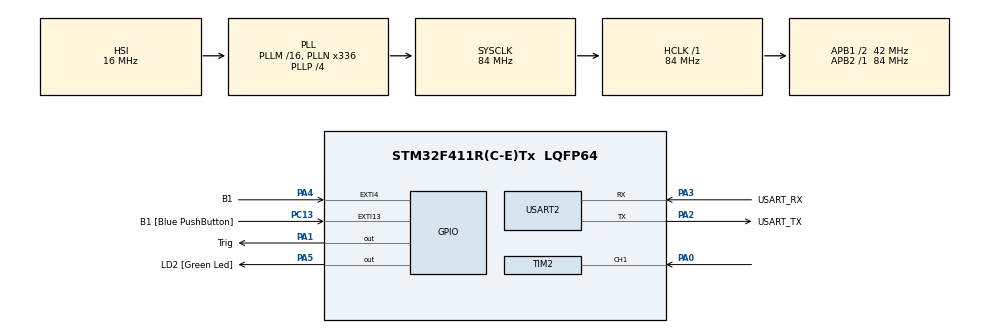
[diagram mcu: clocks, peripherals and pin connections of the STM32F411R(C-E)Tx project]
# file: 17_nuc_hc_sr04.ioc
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Mcu.Family=STM32F4
Mcu.Name=STM32F411R(C-E)Tx
Mcu.Package=LQFP64
NVIC.EXTI4_IRQn=true\:0\:0\:false\:true\:true\:3\:true\:true
NVIC.PriorityGroup=NVIC_PRIORITYGROUP_0
NVIC.TIM1_UP_TIM10_IRQn=true\:0\:0\:false\:true\:true\:2\:true\:true
NVIC.TIM2_IRQn=true\:0\:0\:false\:true\:true\:1\:true\:true
PA0-WKUP.GPIO_PuPd=GPIO_NOPULL
PA0-WKUP.Signal=S_TIM2_CH1_ETR
PA1.GPIO_Label=Trig
PA1.Signal=GPIO_Output
PA13.GPIO_Label=TMS
PA13.Mode=Serial_Wire
PA13.Signal=SYS_JTMS-SWDIO
PA14.GPIO_Label=TCK
PA14.Mode=Serial_Wire
PA14.Signal=SYS_JTCK-SWCLK
PA2.GPIO_Label=USART_TX
PA2.Mode=Asynchronous
PA2.Signal=USART2_TX
PA3.GPIO_Label=USART_RX
PA3.Mode=Asynchronous
PA3.Signal=USART2_RX
PA4.GPIO_Label=B1
PA4.GPIO_PuPd=GPIO_PULLDOWN
PA4.Signal=GPXTI4
PA5.GPIO_Label=LD2 [Green Led]
PA5.Signal=GPIO_Output
PB3.GPIO_Label=SWO
PB3.Signal=SYS_JTDO-SWO
PC13-ANTI_TAMP.GPIO_Label=B1 [Blue PushButton]
PC13-ANTI_TAMP.GPIO_ModeDefaultEXTI=GPIO_MODE_IT_FALLING
PC13-ANTI_TAMP.Signal=GPXTI13
PC14-OSC32_IN.Mode=LSE-External-Oscillator
PC14-OSC32_IN.Signal=RCC_OSC32_IN
PC15-OSC32_OUT.Mode=LSE-External-Oscillator
PC15-OSC32_OUT.Signal=RCC_OSC32_OUT
PH0\ -\ OSC_IN.Mode=HSE-External-Clock-Source
PH0\ -\ OSC_IN.Signal=RCC_OSC_IN
PH1\ -\ OSC_OUT.Mode=HSE-External-Clock-Source
PH1\ -\ OSC_OUT.Signal=RCC_OSC_OUT
ProjectManager.HeapSize=0x200
ProjectManager.StackSize=0x400
ProjectManager.TargetToolchain=STM32CubeIDE
RCC.48MHZClocksFreq_Value=84000000
RCC.AHBFreq_Value=84000000
RCC.APB1CLKDivider=RCC_HCLK_DIV2
RCC.APB1Freq_Value=42000000
RCC.APB1TimFreq_Value=84000000
RCC.APB2Freq_Value=84000000
RCC.APB2TimFreq_Value=84000000
RCC.CortexFreq_Value=84000000
RCC.FLatency-AdvancedSettings=FLASH_LATENCY_2
RCC.HCLKFreq_Value=84000000
RCC.HSE_VALUE=8000000
RCC.HSI_VALUE=16000000
RCC.PLLN=336
RCC.PLLP=RCC_PLLP_DIV4
RCC.SYSCLKFreq_VALUE=84000000
RCC.SYSCLKSource=RCC_SYSCLKSOURCE_PLLCLK
RCC.VCOOutputFreq_Value=336000000
SH.S_TIM2_CH1_ETR.0=TIM2_CH1,Input_Capture1_from_TI1
SH.S_TIM2_CH1_ETR.1=TIM2_CH1,Input_Capture2_from_TI1
TIM1.Period=9
TIM1.Prescaler=83
TIM2.Channel-Input_Capture1_from_TI1=TIM_CHANNEL_1
TIM2.Channel-Input_Capture2_from_TI1=TIM_CHANNEL_2
TIM2.ICPolarity_CH1=TIM_INPUTCHANNELPOLARITY_RISING
TIM2.ICPolarity_CH2=TIM_INPUTCHANNELPOLARITY_FALLING
TIM2.Period=16777216
TIM2.Prescaler=83
USART2.VirtualMode=VM_ASYNC
VP_TIM1_VS_ClockSourceINT.Mode=Internal
VP_TIM2_VS_ClockSourceINT.Mode=Internal
board=NUCLEO-F411RE

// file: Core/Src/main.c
/* USER CODE BEGIN Header */
/**
  ******************************************************************************
  * @file           : main.c
  * @brief          : Main program body
  ******************************************************************************
  * @attention
  *
  * <h2><center>&copy; Copyright (c) 2021 STMicroelectronics.
  * All rights reserved.</center></h2>
  *
  * This software component is licensed by ST under BSD 3-Clause license,
  * the "License"; You may not use this file except in compliance with the
  * License. You may obtain a copy of the License at:
  *                        opensource.org/licenses/BSD-3-Clause
  *
  ******************************************************************************
  */
/* USER CODE END Header */
#include "main.h"
#include "tim.h"
#include "usart.h"
#include "gpio.h"

/* USER CODE BEGIN PV */
volatile uint32_t TimerCounterDown;
volatile uint32_t TimerCounterUp;
volatile uint16_t TimerEcho;
volatile uint8_t CounterMesure;
volatile uint8_t OdlegloscCm;
/* USER CODE END PV */

void SystemClock_Config(void);
static void MX_NVIC_Init(void);

int main(void)
{

  /* MCU Configuration--------------------------------------------------------*/

  /* Reset of all peripherals, Initializes the Flash interface and the Systick. */
  HAL_Init();

  /* Configure the system clock */
  SystemClock_Config();

  /* Initialize all configured peripherals */
  MX_GPIO_Init();
  MX_USART2_UART_Init();
  MX_TIM2_Init();
  MX_TIM1_Init();

  /* Initialize interrupts */
  MX_NVIC_Init();
  /* USER CODE BEGIN 2 */
  //
  // URUCHOMIENIE TIMEROW DO LICZENIA CZASU TRWANIA ECHA W TRYBIE INPUT CAPTURE
  //
  // TIM2 f=84MHz, PSC=83, CPRD=16777216, ICD=1 => Tick_timera = 1us, Przepelnienie 16,8s
  HAL_TIM_IC_Start_IT(&htim2, TIM_CHANNEL_1); // zbocze narastajace -> poczatek echa
  HAL_TIM_IC_Start_IT(&htim2, TIM_CHANNEL_2); // zbocze opadajace -> koniec echa

  /* USER CODE END 2 */

  /* Infinite loop */
  while (1)
  {

  }
}

void SystemClock_Config(void)
{
  RCC_OscInitTypeDef RCC_OscInitStruct = {0};
  RCC_ClkInitTypeDef RCC_ClkInitStruct = {0};

  /** Configure the main internal regulator output voltage
  */
  __HAL_RCC_PWR_CLK_ENABLE();
  __HAL_PWR_VOLTAGESCALING_CONFIG(PWR_REGULATOR_VOLTAGE_SCALE1);
  /** Initializes the RCC Oscillators according to the specified parameters
  * in the RCC_OscInitTypeDef structure.
  */
  RCC_OscInitStruct.OscillatorType = RCC_OSCILLATORTYPE_HSI;
  RCC_OscInitStruct.HSIState = RCC_HSI_ON;
  RCC_OscInitStruct.HSICalibrationValue = RCC_HSICALIBRATION_DEFAULT;
  RCC_OscInitStruct.PLL.PLLState = RCC_PLL_ON;
  RCC_OscInitStruct.PLL.PLLSource = RCC_PLLSOURCE_HSI;
  RCC_OscInitStruct.PLL.PLLM = 16;
  RCC_OscInitStruct.PLL.PLLN = 336;
  RCC_OscInitStruct.PLL.PLLP = RCC_PLLP_DIV4;
  RCC_OscInitStruct.PLL.PLLQ = 4;
  if (HAL_RCC_OscConfig(&RCC_OscInitStruct) != HAL_OK)
  {
    Error_Handler();
  }
  /** Initializes the CPU, AHB and APB buses clocks
  */
  RCC_ClkInitStruct.ClockType = RCC_CLOCKTYPE_HCLK|RCC_CLOCKTYPE_SYSCLK
                              |RCC_CLOCKTYPE_PCLK1|RCC_CLOCKTYPE_PCLK2;
  RCC_ClkInitStruct.SYSCLKSource = RCC_SYSCLKSOURCE_PLLCLK;
  RCC_ClkInitStruct.AHBCLKDivider = RCC_SYSCLK_DIV1;
  RCC_ClkInitStruct.APB1CLKDivider = RCC_HCLK_DIV2;
  RCC_ClkInitStruct.APB2CLKDivider = RCC_HCLK_DIV1;

  if (HAL_RCC_ClockConfig(&RCC_ClkInitStruct, FLASH_LATENCY_2) != HAL_OK)
  {
    Error_Handler();
  }
}

/**
  * @brief NVIC Configuration.
  * @retval None
  */
static void MX_NVIC_Init(void)
{
  /* TIM2_IRQn interrupt configuration */
  HAL_NVIC_SetPriority(TIM2_IRQn, 0, 0);
  HAL_NVIC_EnableIRQ(TIM2_IRQn);
  /* TIM1_UP_TIM10_IRQn interrupt configuration */
  HAL_NVIC_SetPriority(TIM1_UP_TIM10_IRQn, 0, 0);
  HAL_NVIC_EnableIRQ(TIM1_UP_TIM10_IRQn);
  /* EXTI4_IRQn interrupt configuration */
  HAL_NVIC_SetPriority(EXTI4_IRQn, 0, 0);
  HAL_NVIC_EnableIRQ(EXTI4_IRQn);
}

/* USER CODE BEGIN 4 */

//
// LICZENIE CZASU TRWANIA ECHA
//
	void HAL_TIM_IC_CaptureCallback(TIM_HandleTypeDef *htim)
	{
		if(htim->Instance == TIM2)
		{
			if(htim->Channel == HAL_TIM_ACTIVE_CHANNEL_1) // zbocze narastajace -> poczatek echa
			{
				TimerCounterUp = __HAL_TIM_GetCompare(htim, TIM_CHANNEL_1);
				HAL_TIM_IC_Start_IT(htim, TIM_CHANNEL_1); //

			}
			else if (htim->Channel == HAL_TIM_ACTIVE_CHANNEL_2) //zbocze opadajace -> koniec echa
			{
				TimerCounterDown = __HAL_TIM_GetCompare(htim, TIM_CHANNEL_2);
				HAL_TIM_IC_Start_IT(htim, TIM_CHANNEL_2); //
				TimerEcho = TimerCounterDown - TimerCounterUp;	// czas trwania echa
				OdlegloscCm = (uint8_t)(TimerEcho/58);
			}

		}
	}

//
// OBSLUGA PRZERWANIA OD TIMERA NORMAL
//

	void HAL_TIM_PeriodElapsedCallback(TIM_HandleTypeDef *htim)
	{
		if(htim->Instance == TIM1)// TIM1 -> f=84MHz, PSC = 83, CPRD = 9, ISD = 1 => Tick_timer = 1us, Przepelnienie 10us
		{
		HAL_GPIO_WritePin(Trig_GPIO_Port, Trig_Pin, GPIO_PIN_RESET);
		HAL_TIM_Base_Stop_IT(&htim1);
		CounterMesure++;
		}
	}

//
// OBSLUGA PRZERWANIA OD PRZYCISKU
//
	void HAL_GPIO_EXTI_Callback(uint16_t GPIO_Pin)
	{
		if(GPIO_Pin == GPIO_PIN_4)
		{
			HAL_GPIO_WritePin(Trig_GPIO_Port, Trig_Pin, GPIO_PIN_SET);
			HAL_TIM_Base_Start_IT(&htim1);
		}
	}

/* USER CODE END 4 */

void Error_Handler(void)
{
  __disable_irq();
  while (1)
  {
  }
}

/************************ (C) COPYRIGHT STMicroelectronics *****END OF FILE****/
